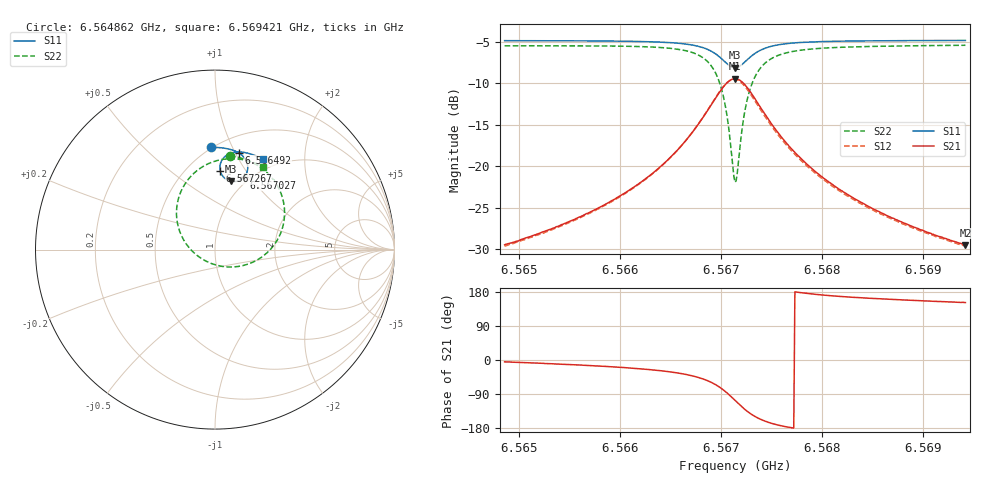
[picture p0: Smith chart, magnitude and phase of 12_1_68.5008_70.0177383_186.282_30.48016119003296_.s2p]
#  HZ  S  RI  R  50.00
! Rohde & Schwarz Vector Network Analyzer
! Rohde-Schwarz,ZNB20-2Port,1311601062101988,3.16
! Created: UTC 3/20/2024, 4:49:03 PM
! freq[Hz]  re:S11  im:S11  re:S21  im:S21  re:S12  im:S12  re:S22  im:S22
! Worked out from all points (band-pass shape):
!   401 points, 6.564862 GHz to 6.569421 GHz, reference 50 ohm
!   highest |S21| = -9.48 dB at 6.567141 GHz (marker M1); lowest = -29.5 dB at 6.569421 GHz (marker M2)
!   |S21| within 3 dB of the highest: 6.566914 GHz to 6.56737 GHz (456 kHz wide, 0.00694 % of centre)
!   lowest |S11| = -8.2 dB at 6.567141 GHz (marker M3), VSWR 2.28, Z = 43.3 + j38.9 ohm
!   |S11| at or under -10 dB: nowhere
!   |S22| runs from -21.9 to -5.4 dB; largest |S21 - S12| = 0.018
!   S11 on the Smith chart (normalised r, x): 6.564862 GHz: 0.49, +0.83; 6.566492 GHz: 0.67, +1.04; 6.567027 GHz: 0.94, +0.93; 6.567267 GHz: 0.71, +0.77; 6.569421 GHz: 0.86, +1.28
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6.5648619e9  -0.0221 0.5691  0.0334 -0.00287  0.0328 -0.00331  0.0837 0.5235
6.5656255e9  0.0431 0.5664  0.0487 -0.0118  0.0479 -0.0124  0.1641 0.504
6.5660586e9  0.0844 0.5585  0.065 -0.024  0.064 -0.0248  0.2239 0.4772
6.5663891e9  0.121 0.5453  0.0862 -0.0454  0.0851 -0.0466  0.2854 0.4332
6.5664916e9  0.134 0.5382  0.0954 -0.0573  0.094 -0.0587  0.3091 0.4092
6.5666968e9  0.1619 0.5139  0.1168 -0.0995  0.115 -0.1016  0.3621 0.3269
6.5668563e9  0.1807 0.4753  0.1258 -0.1679  0.1224 -0.1719  0.3876 0.1947
6.5669589e9  0.179 0.4342  0.1042 -0.2406  0.097 -0.2458  0.3488 0.0562
6.5670273e9  0.16 0.4023  0.0563 -0.2951  0.0446 -0.2988  0.2576 -0.0437
6.5670842e9  0.1284 0.3826  -0.012 -0.3256  -0.0276 -0.3251  0.1291 -0.0941
6.5671184e9  0.1041 0.379  -0.062 -0.3284  -0.0782 -0.3237  0.0379 -0.0932
6.5671412e9  0.0873 0.3808  -0.0956 -0.3218  -0.1114 -0.3143  -0.0219 -0.0769
6.567164e9  0.0714 0.3865  -0.1277 -0.3089  -0.1421 -0.2987  -0.0769 -0.0489
6.567221e9  0.041 0.4124  -0.1885 -0.2553  -0.1972 -0.2407  -0.1757 0.0557
6.5672666e9  0.0294 0.4387  -0.2129 -0.2035  -0.2168 -0.1886  -0.2097 0.1502
6.5673578e9  0.0321 0.4844  -0.2149 -0.1155  -0.2127 -0.1041  -0.1974 0.304
6.5674945e9  0.0595 0.5222  -0.1772 -0.0426  -0.1732 -0.0363  -0.117 0.4259
6.5676541e9  0.0919 0.5389  -0.1365 -0.00831  -0.1328 -0.0049  -0.0325 0.4806
6.5679048e9  0.131 0.5442  -0.0958 0.0098  -0.0933 0.0114  0.0565 0.5046
6.5682353e9  0.1694 0.5401  -0.0669 0.0156  -0.065 0.0165  0.1292 0.5047
6.5686683e9  0.21 0.5291  -0.0466 0.0168  -0.0456 0.0172  0.192 0.4923
6.5694205e9  0.2691 0.5036  -0.0294 0.016  -0.0288 0.016  0.2677 0.4622
